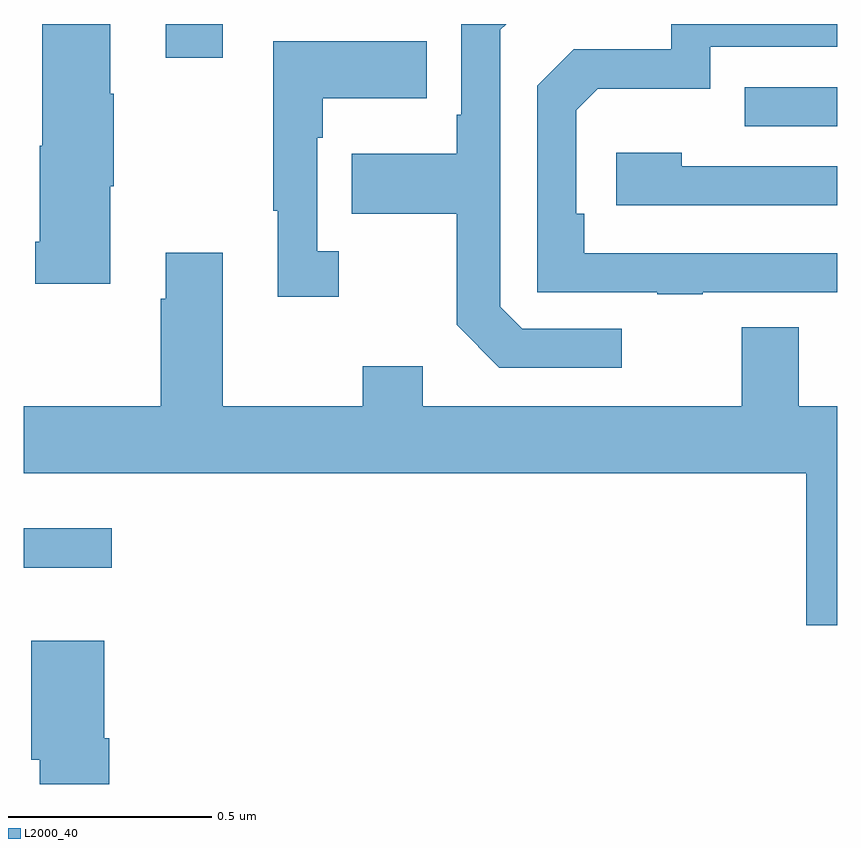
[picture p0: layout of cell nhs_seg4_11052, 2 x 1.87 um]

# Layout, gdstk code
import gdstk
lib = gdstk.Library(unit=1e-6, precision=1e-09)
def R(c, l, rs):  # rectangles x0, y0, x1, y1
    for r in rs: c.add(gdstk.rectangle(r[:2], r[2:], *l))
def P(c, l, *ps):  # polygons
    for p in ps: c.add(gdstk.Polygon(p, *l))
L2000_40 = (2000, 40)

nhs_seg4_11052 = lib.new_cell('nhs_seg4_11052')
R(nhs_seg4_11052, L2000_40, [(247,820.563,247.216,820.66), (248.773,821.649,249,821.745), (247.349,821.817,247.489,821.9)])
P(nhs_seg4_11052, L2000_40, [(248.47,821.151),(248.226,821.151),(248.172,821.205),(248.172,821.886),(248.186,821.9),(248.076,821.9),(248.076,821.677),(248.064,821.677),(248.064,821.581),(247.807,821.581),(247.807,821.434),(248.064,821.434),(248.064,821.161),(248.169,821.055),(248.47,821.055)],
  [(247.213,821.501),(247.221,821.501),(247.221,821.729),(247.213,821.729),(247.213,821.9),(247.046,821.9),(247.046,821.601),(247.04,821.601),(247.04,821.365),(247.028,821.365),(247.028,821.261),(247.213,821.261)],
  [(248.669,821.241),(249,821.241),(249,821.337),(248.378,821.337),(248.378,821.434),(248.358,821.434),(248.358,821.688),(248.411,821.741),(248.688,821.741),(248.688,821.844),(249,821.844),(249,821.9),(248.592,821.9),(248.592,821.838),(248.352,821.838),(248.262,821.748),(248.262,821.241),(248.557,821.241),(248.557,821.236),(248.669,821.236)],
  [(247.774,821.342),(247.722,821.342),(247.722,821.621),(247.735,821.621),(247.735,821.717),(247.991,821.717),(247.991,821.857),(247.614,821.857),(247.614,821.441),(247.625,821.441),(247.625,821.229),(247.774,821.229)],
  [(249,821.55),(248.618,821.55),(248.618,821.584),(248.457,821.584),(248.457,821.454),(249,821.454)],
  [(249,820.96),(248.905,820.96),(248.905,821.155),(248.765,821.155),(248.765,820.96),(247.981,820.96),(247.981,821.059),(247.834,821.059),(247.834,820.96),(247.489,820.96),(247.489,821.338),(247.349,821.338),(247.349,821.225),(247.337,821.225),(247.337,820.96),(247,820.96),(247,820.796),(248.924,820.796),(248.924,820.422),(249,820.422)],
  [(247.211,820.144),(247.198,820.144),(247.198,820.384),(247.019,820.384),(247.019,820.092),(247.04,820.092),(247.04,820.032),(247.211,820.032)])

lib.write_gds('nhs_seg4_11052.gds')
